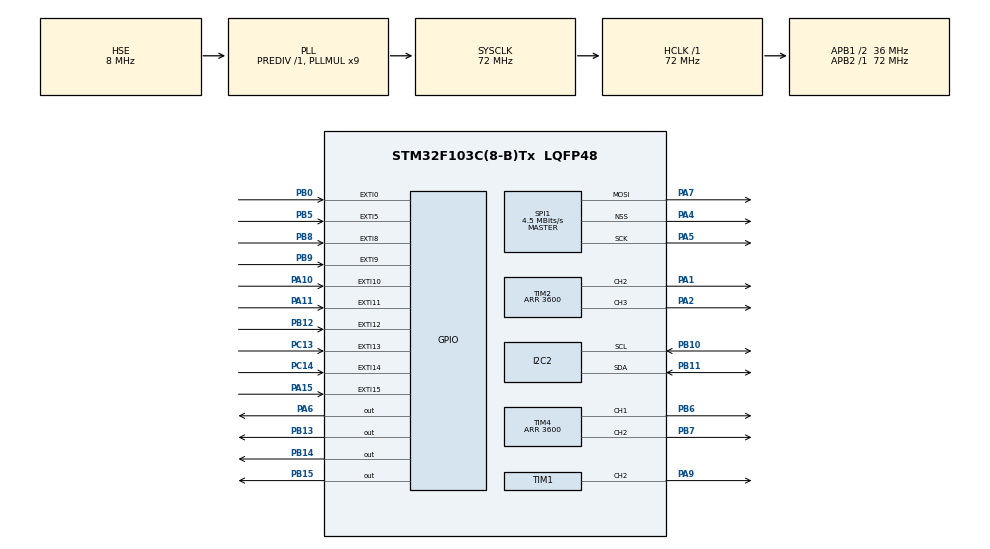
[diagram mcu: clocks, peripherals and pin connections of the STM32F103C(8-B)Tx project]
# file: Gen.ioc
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Mcu.Family=STM32F1
Mcu.Name=STM32F103C(8-B)Tx
Mcu.Package=LQFP48
NVIC.EXTI0_IRQn=true\:0\:0\:false\:false\:true\:true\:false\:false
NVIC.EXTI15_10_IRQn=true\:1\:0\:true\:false\:true\:true\:true\:false
NVIC.EXTI9_5_IRQn=true\:0\:0\:false\:false\:true\:true\:false\:false
NVIC.PriorityGroup=NVIC_PRIORITYGROUP_4
NVIC.TIM3_IRQn=true\:0\:0\:false\:false\:true\:true\:false\:false
PA1.Signal=S_TIM2_CH2
PA10.GPIO_ModeDefaultEXTI=GPIO_MODE_IT_FALLING
PA10.Signal=GPXTI10
PA11.GPIO_ModeDefaultEXTI=GPIO_MODE_IT_FALLING
PA11.Signal=GPXTI11
PA13.Mode=Serial_Wire
PA13.Signal=SYS_JTMS-SWDIO
PA14.Mode=Serial_Wire
PA14.Signal=SYS_JTCK-SWCLK
PA15.GPIO_ModeDefaultEXTI=GPIO_MODE_IT_FALLING
PA15.Signal=GPXTI15
PA2.Signal=S_TIM2_CH3
PA4.Mode=NSS_Signal_Hard_Output
PA4.Signal=SPI1_NSS
PA5.Mode=TX_Only_Simplex_Unidirect_Master
PA5.Signal=SPI1_SCK
PA6.Signal=GPIO_Output
PA7.Mode=TX_Only_Simplex_Unidirect_Master
PA7.Signal=SPI1_MOSI
PA9.Signal=S_TIM1_CH2
PB0.Signal=GPXTI0
PB10.Mode=I2C
PB10.Signal=I2C2_SCL
PB11.Mode=I2C
PB11.Signal=I2C2_SDA
PB12.Signal=GPXTI12
PB13.Signal=GPIO_Output
PB14.Signal=GPIO_Output
PB15.Signal=GPIO_Output
PB5.GPIO_ModeDefaultEXTI=GPIO_MODE_IT_RISING_FALLING
PB5.Signal=GPXTI5
PB6.Signal=S_TIM4_CH1
PB7.Signal=S_TIM4_CH2
PB8.GPIO_ModeDefaultEXTI=GPIO_MODE_IT_RISING_FALLING
PB8.Signal=GPXTI8
PB9.GPIO_ModeDefaultEXTI=GPIO_MODE_IT_RISING_FALLING
PB9.Signal=GPXTI9
PC13-TAMPER-RTC.GPIO_ModeDefaultEXTI=GPIO_MODE_IT_FALLING
PC13-TAMPER-RTC.Signal=GPXTI13
PC14-OSC32_IN.GPIO_ModeDefaultEXTI=GPIO_MODE_IT_FALLING
PC14-OSC32_IN.Signal=GPXTI14
PD0-OSC_IN.Mode=HSE-External-Oscillator
PD0-OSC_IN.Signal=RCC_OSC_IN
PD1-OSC_OUT.Mode=HSE-External-Oscillator
PD1-OSC_OUT.Signal=RCC_OSC_OUT
ProjectManager.HeapSize=0x200
ProjectManager.StackSize=0x400
ProjectManager.TargetToolchain=CMake
RCC.ADCPresc=RCC_ADCPCLK2_DIV6
RCC.AHBFreq_Value=72000000
RCC.APB1CLKDivider=RCC_HCLK_DIV2
RCC.APB1Freq_Value=36000000
RCC.APB1TimFreq_Value=72000000
RCC.APB2Freq_Value=72000000
RCC.APB2TimFreq_Value=72000000
RCC.HCLKFreq_Value=72000000
RCC.PLLMUL=RCC_PLL_MUL9
RCC.PLLSourceVirtual=RCC_PLLSOURCE_HSE
RCC.SYSCLKFreq_VALUE=72000000
RCC.SYSCLKSource=RCC_SYSCLKSOURCE_PLLCLK
RCC.USBFreq_Value=72000000
SH.S_TIM1_CH2.0=TIM1_CH2,PWM Generation2 CH2
SH.S_TIM2_CH2.0=TIM2_CH2,PWM Generation2 CH2
SH.S_TIM2_CH3.0=TIM2_CH3,PWM Generation3 CH3
SH.S_TIM4_CH1.0=TIM4_CH1,PWM Generation1 CH1
SH.S_TIM4_CH2.0=TIM4_CH2,PWM Generation2 CH2
SPI1.BaudRatePrescaler=SPI_BAUDRATEPRESCALER_16
SPI1.CLKPhase=SPI_PHASE_2EDGE
SPI1.CLKPolarity=SPI_POLARITY_HIGH
SPI1.CalculateBaudRate=4.5 MBits/s
SPI1.Direction=SPI_DIRECTION_2LINES
SPI1.Mode=SPI_MODE_MASTER
SPI1.VirtualNSS=VM_NSSHARD
SPI1.VirtualType=VM_MASTER
TIM1.AutoReloadPreload=TIM_AUTORELOAD_PRELOAD_DISABLE
TIM1.Channel-PWM\ Generation2\ CH2=TIM_CHANNEL_2
TIM1.Period=7199
TIM1.Prescaler=1098
TIM1.Pulse-PWM\ Generation2\ CH2=3599
TIM1.TIM_MasterOutputTrigger=TIM_TRGO_UPDATE
TIM2.AutoReloadPreload=TIM_AUTORELOAD_PRELOAD_ENABLE
TIM2.Channel-PWM\ Generation2\ CH2=TIM_CHANNEL_2
TIM2.Channel-PWM\ Generation3\ CH3=TIM_CHANNEL_3
TIM2.OCPolarity_2=TIM_OCPOLARITY_LOW
TIM2.OCPolarity_3=TIM_OCPOLARITY_LOW
TIM2.Period=3600
TIM2.Pulse-PWM\ Generation2\ CH2=1
TIM2.TIM_MasterOutputTrigger=TIM_TRGO_UPDATE
TIM3.Period=65535
TIM3.Prescaler=2197
TIM4.AutoReloadPreload=TIM_AUTORELOAD_PRELOAD_ENABLE
TIM4.Channel-PWM\ Generation1\ CH1=TIM_CHANNEL_1
TIM4.Channel-PWM\ Generation2\ CH2=TIM_CHANNEL_2
TIM4.OC2Preload_PWM=ENABLE
TIM4.OCFastMode_PWM-PWM\ Generation1\ CH1=TIM_OCFAST_DISABLE
TIM4.OCFastMode_PWM-PWM\ Generation2\ CH2=TIM_OCFAST_DISABLE
TIM4.OCMode_PWM-PWM\ Generation2\ CH2=TIM_OCMODE_PWM1
TIM4.OCPolarity_1=TIM_OCPOLARITY_LOW
TIM4.OCPolarity_2=TIM_OCPOLARITY_LOW
TIM4.Period=3600
TIM4.Pulse-PWM\ Generation1\ CH1=3240
TIM4.Pulse-PWM\ Generation2\ CH2=1
TIM4.TIM_MasterOutputTrigger=TIM_TRGO_UPDATE
TIM4.TIM_MasterSlaveMode=TIM_MASTERSLAVEMODE_ENABLE
VP_TIM2_VS_ClockSourceITR.Mode=TriggerSource_ITR0
VP_TIM2_VS_ControllerModeTrigger.Mode=Trigger Mode
VP_TIM2_VS_OPM.Mode=OPM_bit
VP_TIM3_VS_ClockSourceINT.Mode=Internal
VP_TIM4_VS_ClockSourceITR.Mode=TriggerSource_ITR1
VP_TIM4_VS_ControllerModeTrigger.Mode=Trigger Mode
VP_TIM4_VS_OPM.Mode=OPM_bit
board=custom

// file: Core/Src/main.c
/* USER CODE BEGIN Header */
/**
 ******************************************************************************
 * @file           : main.c
 * @brief          : Main program body
 ******************************************************************************
 * @attention
 *
 * Copyright (c) 2025 STMicroelectronics.
 * All rights reserved.
 *
 * This software is licensed under terms that can be found in the LICENSE file
 * in the root directory of this software component.
 * If no LICENSE file comes with this software, it is provided AS-IS.
 *
 ******************************************************************************
 */
/* USER CODE END Header */
#include "main.h"

/* USER CODE BEGIN Includes */
#include "core.h"
/* USER CODE END Includes */

I2C_HandleTypeDef hi2c2;

SPI_HandleTypeDef hspi1;

TIM_HandleTypeDef htim1;
TIM_HandleTypeDef htim2;
TIM_HandleTypeDef htim3;
TIM_HandleTypeDef htim4;

/* USER CODE BEGIN PV */
uint32_t last_tick = 0;
uint32_t current_tick = 0;
uint32_t current_button_tick = 0;

uint32_t last_tick_2 = 0;
uint32_t current_tick_2 = 0;
uint32_t last_tick_3 = 0;
uint32_t current_tick_3 = 0;

bool button_flag = false;
/* USER CODE END PV */

void SystemClock_Config(void);
static void MX_GPIO_Init(void);
static void MX_SPI1_Init(void);
static void MX_TIM1_Init(void);
static void MX_TIM2_Init(void);
static void MX_TIM4_Init(void);
static void MX_I2C2_Init(void);
static void MX_TIM3_Init(void);

int main(void)
{

  /* MCU Configuration--------------------------------------------------------*/

  /* Reset of all peripherals, Initializes the Flash interface and the Systick. */
  HAL_Init();

  /* Configure the system clock */
  SystemClock_Config();

  /* USER CODE BEGIN SysInit */
  HAL_Delay(200); // Для зарядки конденсторов на кнопке включения таймеров и кнопки сохранения и т.д.
  /* USER CODE END SysInit */

  /* Initialize all configured peripherals */
  MX_GPIO_Init();
  MX_SPI1_Init();
  MX_TIM1_Init();
  MX_TIM2_Init();
  MX_TIM4_Init();
  MX_I2C2_Init();
  MX_TIM3_Init();
  /* USER CODE BEGIN 2 */

  CoreInit(&hi2c2, &htim1, &htim2, &htim4);

  LoadProfilesFromEEPROM();
  NVIC_EnableIRQ(EXTI9_5_IRQn);
  NVIC_EnableIRQ(EXTI15_10_IRQn);
  LoadParametersFromProfile();
  PrintScreen();
  SetTimers();

  if (HAL_GPIO_ReadPin(GPIOB, GPIO_PIN_9) == GPIO_PIN_RESET)
  {
    IsExternalSource = true;
    SetExternalSource();
  }
  if (HAL_GPIO_ReadPin(GPIOB, GPIO_PIN_8) == GPIO_PIN_RESET)
  {
    TimersEnabled = true;
    LaunchTimers();
    HAL_GPIO_WritePin(GPIOA, GPIO_PIN_6, GPIO_PIN_SET);
  }
  else
  {
    TimersEnabled = false;
    StopTimers();
    HAL_GPIO_WritePin(GPIOA, GPIO_PIN_6, GPIO_PIN_RESET);
  }
  /* USER CODE END 2 */

  /* Infinite loop */
  while (1)
  {

  }
}

void SystemClock_Config(void)
{
  RCC_OscInitTypeDef RCC_OscInitStruct = {0};
  RCC_ClkInitTypeDef RCC_ClkInitStruct = {0};

  /** Initializes the RCC Oscillators according to the specified parameters
   * in the RCC_OscInitTypeDef structure.
   */
  RCC_OscInitStruct.OscillatorType = RCC_OSCILLATORTYPE_HSE;
  RCC_OscInitStruct.HSEState = RCC_HSE_ON;
  RCC_OscInitStruct.HSEPredivValue = RCC_HSE_PREDIV_DIV1;
  RCC_OscInitStruct.HSIState = RCC_HSI_ON;
  RCC_OscInitStruct.PLL.PLLState = RCC_PLL_ON;
  RCC_OscInitStruct.PLL.PLLSource = RCC_PLLSOURCE_HSE;
  RCC_OscInitStruct.PLL.PLLMUL = RCC_PLL_MUL9;
  if (HAL_RCC_OscConfig(&RCC_OscInitStruct) != HAL_OK)
  {
    Error_Handler();
  }

  /** Initializes the CPU, AHB and APB buses clocks
   */
  RCC_ClkInitStruct.ClockType = RCC_CLOCKTYPE_HCLK | RCC_CLOCKTYPE_SYSCLK | RCC_CLOCKTYPE_PCLK1 | RCC_CLOCKTYPE_PCLK2;
  RCC_ClkInitStruct.SYSCLKSource = RCC_SYSCLKSOURCE_PLLCLK;
  RCC_ClkInitStruct.AHBCLKDivider = RCC_SYSCLK_DIV1;
  RCC_ClkInitStruct.APB1CLKDivider = RCC_HCLK_DIV2;
  RCC_ClkInitStruct.APB2CLKDivider = RCC_HCLK_DIV1;

  if (HAL_RCC_ClockConfig(&RCC_ClkInitStruct, FLASH_LATENCY_2) != HAL_OK)
  {
    Error_Handler();
  }
}

static void MX_I2C2_Init(void)
{

  hi2c2.Instance = I2C2;
  hi2c2.Init.ClockSpeed = 100000;
  hi2c2.Init.DutyCycle = I2C_DUTYCYCLE_2;
  hi2c2.Init.OwnAddress1 = 0;
  hi2c2.Init.AddressingMode = I2C_ADDRESSINGMODE_7BIT;
  hi2c2.Init.DualAddressMode = I2C_DUALADDRESS_DISABLE;
  hi2c2.Init.OwnAddress2 = 0;
  hi2c2.Init.GeneralCallMode = I2C_GENERALCALL_DISABLE;
  hi2c2.Init.NoStretchMode = I2C_NOSTRETCH_DISABLE;
  if (HAL_I2C_Init(&hi2c2) != HAL_OK)
  {
    Error_Handler();
  }
}

static void MX_SPI1_Init(void)
{

  /* SPI1 parameter configuration*/
  hspi1.Instance = SPI1;
  hspi1.Init.Mode = SPI_MODE_MASTER;
  hspi1.Init.Direction = SPI_DIRECTION_2LINES;
  hspi1.Init.DataSize = SPI_DATASIZE_8BIT;
  hspi1.Init.CLKPolarity = SPI_POLARITY_HIGH;
  hspi1.Init.CLKPhase = SPI_PHASE_2EDGE;
  hspi1.Init.NSS = SPI_NSS_HARD_OUTPUT;
  hspi1.Init.BaudRatePrescaler = SPI_BAUDRATEPRESCALER_16;
  hspi1.Init.FirstBit = SPI_FIRSTBIT_MSB;
  hspi1.Init.TIMode = SPI_TIMODE_DISABLE;
  hspi1.Init.CRCCalculation = SPI_CRCCALCULATION_DISABLE;
  hspi1.Init.CRCPolynomial = 10;
  if (HAL_SPI_Init(&hspi1) != HAL_OK)
  {
    Error_Handler();
  }
}

static void MX_TIM1_Init(void)
{

  TIM_MasterConfigTypeDef sMasterConfig = {0};
  TIM_OC_InitTypeDef sConfigOC = {0};
  TIM_BreakDeadTimeConfigTypeDef sBreakDeadTimeConfig = {0};

  htim1.Instance = TIM1;
  htim1.Init.Prescaler = 1098;
  htim1.Init.CounterMode = TIM_COUNTERMODE_UP;
  htim1.Init.Period = 7199;
  htim1.Init.ClockDivision = TIM_CLOCKDIVISION_DIV1;
  htim1.Init.RepetitionCounter = 0;
  htim1.Init.AutoReloadPreload = TIM_AUTORELOAD_PRELOAD_DISABLE;
  if (HAL_TIM_PWM_Init(&htim1) != HAL_OK)
  {
    Error_Handler();
  }
  sMasterConfig.MasterOutputTrigger = TIM_TRGO_UPDATE;
  sMasterConfig.MasterSlaveMode = TIM_MASTERSLAVEMODE_DISABLE;
  if (HAL_TIMEx_MasterConfigSynchronization(&htim1, &sMasterConfig) != HAL_OK)
  {
    Error_Handler();
  }
  sConfigOC.OCMode = TIM_OCMODE_PWM1;
  sConfigOC.Pulse = 3599;
  sConfigOC.OCPolarity = TIM_OCPOLARITY_HIGH;
  sConfigOC.OCNPolarity = TIM_OCNPOLARITY_HIGH;
  sConfigOC.OCFastMode = TIM_OCFAST_DISABLE;
  sConfigOC.OCIdleState = TIM_OCIDLESTATE_RESET;
  sConfigOC.OCNIdleState = TIM_OCNIDLESTATE_RESET;
  if (HAL_TIM_PWM_ConfigChannel(&htim1, &sConfigOC, TIM_CHANNEL_2) != HAL_OK)
  {
    Error_Handler();
  }
  sBreakDeadTimeConfig.OffStateRunMode = TIM_OSSR_DISABLE;
  sBreakDeadTimeConfig.OffStateIDLEMode = TIM_OSSI_DISABLE;
  sBreakDeadTimeConfig.LockLevel = TIM_LOCKLEVEL_OFF;
  sBreakDeadTimeConfig.DeadTime = 0;
  sBreakDeadTimeConfig.BreakState = TIM_BREAK_DISABLE;
  sBreakDeadTimeConfig.BreakPolarity = TIM_BREAKPOLARITY_HIGH;
  sBreakDeadTimeConfig.AutomaticOutput = TIM_AUTOMATICOUTPUT_DISABLE;
  if (HAL_TIMEx_ConfigBreakDeadTime(&htim1, &sBreakDeadTimeConfig) != HAL_OK)
  {
    Error_Handler();
  }
  HAL_TIM_MspPostInit(&htim1);
}

static void MX_TIM2_Init(void)
{

  TIM_SlaveConfigTypeDef sSlaveConfig = {0};
  TIM_MasterConfigTypeDef sMasterConfig = {0};
  TIM_OC_InitTypeDef sConfigOC = {0};

  htim2.Instance = TIM2;
  htim2.Init.Prescaler = 0;
  htim2.Init.CounterMode = TIM_COUNTERMODE_UP;
  htim2.Init.Period = 3600;
  htim2.Init.ClockDivision = TIM_CLOCKDIVISION_DIV1;
  htim2.Init.AutoReloadPreload = TIM_AUTORELOAD_PRELOAD_ENABLE;
  if (HAL_TIM_Base_Init(&htim2) != HAL_OK)
  {
    Error_Handler();
  }
  if (HAL_TIM_PWM_Init(&htim2) != HAL_OK)
  {
    Error_Handler();
  }
  if (HAL_TIM_OnePulse_Init(&htim2, TIM_OPMODE_SINGLE) != HAL_OK)
  {
    Error_Handler();
  }
  sSlaveConfig.SlaveMode = TIM_SLAVEMODE_TRIGGER;
  sSlaveConfig.InputTrigger = TIM_TS_ITR0;
  if (HAL_TIM_SlaveConfigSynchro(&htim2, &sSlaveConfig) != HAL_OK)
  {
    Error_Handler();
  }
  sMasterConfig.MasterOutputTrigger = TIM_TRGO_UPDATE;
  sMasterConfig.MasterSlaveMode = TIM_MASTERSLAVEMODE_DISABLE;
  if (HAL_TIMEx_MasterConfigSynchronization(&htim2, &sMasterConfig) != HAL_OK)
  {
    Error_Handler();
  }
  sConfigOC.OCMode = TIM_OCMODE_PWM1;
  sConfigOC.Pulse = 1;
  sConfigOC.OCPolarity = TIM_OCPOLARITY_LOW;
  sConfigOC.OCFastMode = TIM_OCFAST_DISABLE;
  if (HAL_TIM_PWM_ConfigChannel(&htim2, &sConfigOC, TIM_CHANNEL_2) != HAL_OK)
  {
    Error_Handler();
  }
  sConfigOC.Pulse = 0;
  if (HAL_TIM_PWM_ConfigChannel(&htim2, &sConfigOC, TIM_CHANNEL_3) != HAL_OK)
  {
    Error_Handler();
  }
  HAL_TIM_MspPostInit(&htim2);
}

static void MX_TIM3_Init(void)
{

  TIM_ClockConfigTypeDef sClockSourceConfig = {0};
  TIM_MasterConfigTypeDef sMasterConfig = {0};

  htim3.Instance = TIM3;
  htim3.Init.Prescaler = 2197;
  htim3.Init.CounterMode = TIM_COUNTERMODE_UP;
  htim3.Init.Period = 65535;
  htim3.Init.ClockDivision = TIM_CLOCKDIVISION_DIV1;
  htim3.Init.AutoReloadPreload = TIM_AUTORELOAD_PRELOAD_DISABLE;
  if (HAL_TIM_Base_Init(&htim3) != HAL_OK)
  {
    Error_Handler();
  }
  sClockSourceConfig.ClockSource = TIM_CLOCKSOURCE_INTERNAL;
  if (HAL_TIM_ConfigClockSource(&htim3, &sClockSourceConfig) != HAL_OK)
  {
    Error_Handler();
  }
  sMasterConfig.MasterOutputTrigger = TIM_TRGO_RESET;
  sMasterConfig.MasterSlaveMode = TIM_MASTERSLAVEMODE_DISABLE;
  if (HAL_TIMEx_MasterConfigSynchronization(&htim3, &sMasterConfig) != HAL_OK)
  {
    Error_Handler();
  }
}

static void MX_TIM4_Init(void)
{

  TIM_SlaveConfigTypeDef sSlaveConfig = {0};
  TIM_MasterConfigTypeDef sMasterConfig = {0};
  TIM_OC_InitTypeDef sConfigOC = {0};

  htim4.Instance = TIM4;
  htim4.Init.Prescaler = 5;
  htim4.Init.CounterMode = TIM_COUNTERMODE_UP;
  htim4.Init.Period = 3600;
  htim4.Init.ClockDivision = TIM_CLOCKDIVISION_DIV1;
  htim4.Init.AutoReloadPreload = TIM_AUTORELOAD_PRELOAD_ENABLE;
  if (HAL_TIM_Base_Init(&htim4) != HAL_OK)
  {
    Error_Handler();
  }
  if (HAL_TIM_PWM_Init(&htim4) != HAL_OK)
  {
    Error_Handler();
  }
  if (HAL_TIM_OnePulse_Init(&htim4, TIM_OPMODE_SINGLE) != HAL_OK)
  {
    Error_Handler();
  }
  sSlaveConfig.SlaveMode = TIM_SLAVEMODE_TRIGGER;
  sSlaveConfig.InputTrigger = TIM_TS_ITR1;
  if (HAL_TIM_SlaveConfigSynchro(&htim4, &sSlaveConfig) != HAL_OK)
  {
    Error_Handler();
  }
  sMasterConfig.MasterOutputTrigger = TIM_TRGO_UPDATE;
  sMasterConfig.MasterSlaveMode = TIM_MASTERSLAVEMODE_ENABLE;
  if (HAL_TIMEx_MasterConfigSynchronization(&htim4, &sMasterConfig) != HAL_OK)
  {
    Error_Handler();
  }
  sConfigOC.OCMode = TIM_OCMODE_PWM1;
  sConfigOC.Pulse = 3240;
  sConfigOC.OCPolarity = TIM_OCPOLARITY_LOW;
  sConfigOC.OCFastMode = TIM_OCFAST_DISABLE;
  if (HAL_TIM_PWM_ConfigChannel(&htim4, &sConfigOC, TIM_CHANNEL_1) != HAL_OK)
  {
    Error_Handler();
  }
  sConfigOC.Pulse = 1;
  if (HAL_TIM_PWM_ConfigChannel(&htim4, &sConfigOC, TIM_CHANNEL_2) != HAL_OK)
  {
    Error_Handler();
  }
  HAL_TIM_MspPostInit(&htim4);
}

static void MX_GPIO_Init(void)
{
  GPIO_InitTypeDef GPIO_InitStruct = {0};

  /* GPIO Ports Clock Enable */
  __HAL_RCC_GPIOC_CLK_ENABLE();
  __HAL_RCC_GPIOD_CLK_ENABLE();
  __HAL_RCC_GPIOA_CLK_ENABLE();
  __HAL_RCC_GPIOB_CLK_ENABLE();

  /*Configure GPIO pin Output Level */
  HAL_GPIO_WritePin(GPIOA, GPIO_PIN_6, GPIO_PIN_RESET);

  /*Configure GPIO pin Output Level */
  HAL_GPIO_WritePin(GPIOB, GPIO_PIN_13 | GPIO_PIN_14 | GPIO_PIN_15, GPIO_PIN_RESET);

  /*Configure GPIO pins : PC13 PC14 */
  GPIO_InitStruct.Pin = GPIO_PIN_13 | GPIO_PIN_14;
  GPIO_InitStruct.Mode = GPIO_MODE_IT_FALLING;
  GPIO_InitStruct.Pull = GPIO_NOPULL;
  HAL_GPIO_Init(GPIOC, &GPIO_InitStruct);

  /*Configure GPIO pin : PA6 */
  GPIO_InitStruct.Pin = GPIO_PIN_6;
  GPIO_InitStruct.Mode = GPIO_MODE_OUTPUT_PP;
  GPIO_InitStruct.Pull = GPIO_NOPULL;
  GPIO_InitStruct.Speed = GPIO_SPEED_FREQ_LOW;
  HAL_GPIO_Init(GPIOA, &GPIO_InitStruct);

  /*Configure GPIO pins : PB0 PB12 */
  GPIO_InitStruct.Pin = GPIO_PIN_0 | GPIO_PIN_12;
  GPIO_InitStruct.Mode = GPIO_MODE_IT_RISING;
  GPIO_InitStruct.Pull = GPIO_NOPULL;
  HAL_GPIO_Init(GPIOB, &GPIO_InitStruct);

  /*Configure GPIO pins : PB13 PB14 PB15 */
  GPIO_InitStruct.Pin = GPIO_PIN_13 | GPIO_PIN_14 | GPIO_PIN_15;
  GPIO_InitStruct.Mode = GPIO_MODE_OUTPUT_PP;
  GPIO_InitStruct.Pull = GPIO_NOPULL;
  GPIO_InitStruct.Speed = GPIO_SPEED_FREQ_LOW;
  HAL_GPIO_Init(GPIOB, &GPIO_InitStruct);

  /*Configure GPIO pins : PA10 PA11 PA15 */
  GPIO_InitStruct.Pin = GPIO_PIN_10 | GPIO_PIN_11 | GPIO_PIN_15;
  GPIO_InitStruct.Mode = GPIO_MODE_IT_FALLING;
  GPIO_InitStruct.Pull = GPIO_NOPULL;
  HAL_GPIO_Init(GPIOA, &GPIO_InitStruct);

  /*Configure GPIO pins : PB5 PB8 PB9 */
  GPIO_InitStruct.Pin = GPIO_PIN_5 | GPIO_PIN_8 | GPIO_PIN_9;
  GPIO_InitStruct.Mode = GPIO_MODE_IT_RISING_FALLING;
  GPIO_InitStruct.Pull = GPIO_NOPULL;
  HAL_GPIO_Init(GPIOB, &GPIO_InitStruct);

  /* EXTI interrupt init*/
  HAL_NVIC_SetPriority(EXTI0_IRQn, 0, 0);
  HAL_NVIC_SetPriority(EXTI9_5_IRQn, 0, 0);
  HAL_NVIC_SetPriority(EXTI15_10_IRQn, 1, 0);

}

/* USER CODE BEGIN 4 */
void HAL_GPIO_EXTI_Callback(uint16_t GPIO_Pin)
{
  uint32_t current_tick = HAL_GetTick();
  if (GPIO_Pin == GPIO_PIN_5)
  {
    if (current_tick - current_button_tick >= 3000 && button_flag)
    {
      // erase
      HandleButtonErase();
      button_flag = false;
    }
    else
    {
      // save
      current_button_tick = current_tick;
      button_flag = !button_flag;
      if (StateLoadError || StateParamsError)
        return;
      if (button_flag)
        HandleButtonSave();
    }
  }

  // Защита от дребезга контактов кнопок
  if ((current_tick - last_tick) > DEBOUNCE_DELAY)
  {
    last_tick = current_tick;

    // Обработка сохранения и сброса профиля
    if (StateLoadError)
      return;
    // Обработка кнопок изменения значения и влево-вправо

    if (GPIO_Pin == GPIO_PIN_15)
    {
      uint32_t port_select = (AFIO->EXTICR[2] & AFIO_EXTICR3_EXTI10) >> 8;

      HandleButtonRight();
      UpdateScreenPlaceNumber();
    }

    if (GPIO_Pin == GPIO_PIN_10)
    {
      HandleButtonLeft();
      UpdateScreenPlaceNumber();
    }

    if (GPIO_Pin == GPIO_PIN_13)
    {
      if (HAL_GPIO_ReadPin(GPIOC, GPIO_PIN_14) == GPIO_PIN_RESET)
        HandleButtonHalfIN();
      else
        HandleButtonIncrease();

      return;
    }
    if (GPIO_Pin == GPIO_PIN_14)
    {
      HandleButtonDecrease();
      return;
    }
    /* if (StateParamsError && !IsExternalSource)
      return; */

    // Обработка кнопок вверх вниз

    if (GPIO_Pin == GPIO_PIN_11)
    {
      HandleButtonUp();
    }
    if (GPIO_Pin == GPIO_PIN_12)
    {
      HandleButtonDown();
    }
  }
}

void ToggleTimers()
{
  // uint32_t current_tick_2 = HAL_GetTick();
  // if ((current_tick_2 - last_tick_2) > DEBOUNCE_DELAY_2)
  //{
  //  last_tick_2 = current_tick_2;

  if (TimersEnabled) // были импульсы -> отключить
  {
    StopTimers();
    HAL_GPIO_WritePin(GPIOA, GPIO_PIN_6, GPIO_PIN_RESET);
  }
  else
  {
    LaunchTimers();
    HAL_GPIO_WritePin(GPIOA, GPIO_PIN_6, GPIO_PIN_SET);
  }
  TimersEnabled = !TimersEnabled;
  //}
}

void ToggleTimerPower()
{
  uint32_t current_tick_3 = HAL_GetTick();
  if ((current_tick_3 - last_tick_3) > DEBOUNCE_DELAY_2)
  {
    last_tick_3 = current_tick_3;
    if (IsExternalSource)
    {
      UnsetExternalSource();
    }
    else
    {
      SetExternalSource();
    }
    IsExternalSource = !IsExternalSource;
  }
}

/* USER CODE END 4 */

void Error_Handler(void)
{
  __disable_irq();
  while (1)
  {
  }
}
